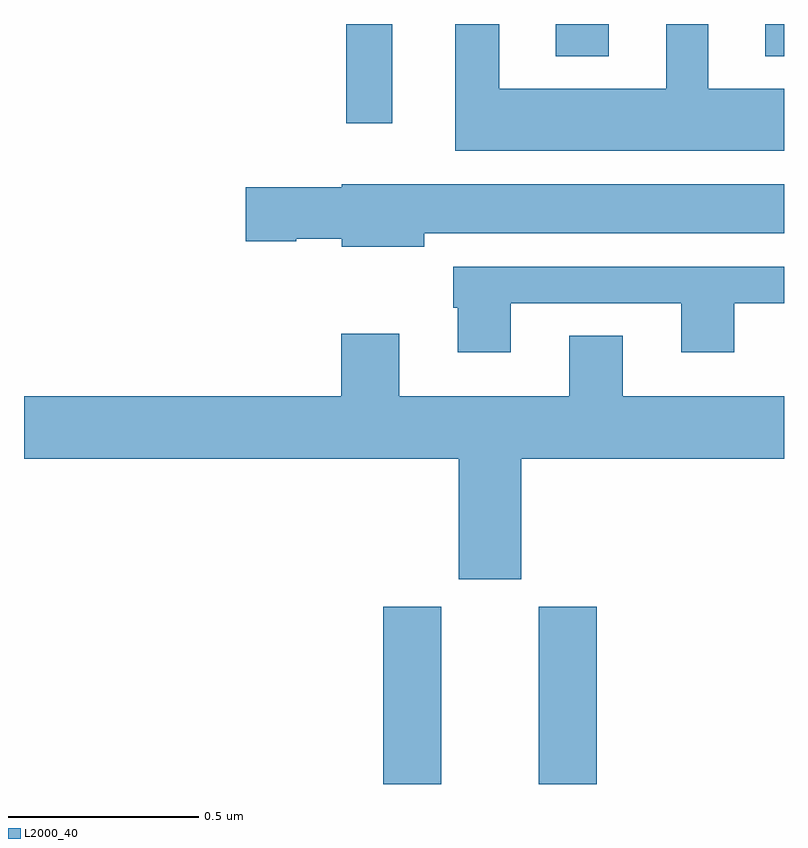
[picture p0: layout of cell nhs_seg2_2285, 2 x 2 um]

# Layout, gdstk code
import gdstk
lib = gdstk.Library(unit=1e-6, precision=1e-09)
def R(c, l, rs):  # rectangles x0, y0, x1, y1
    for r in rs: c.add(gdstk.rectangle(r[:2], r[2:], *l))
def P(c, l, *ps):  # polygons
    for p in ps: c.add(gdstk.Polygon(p, *l))
L2000_40 = (2000, 40)

nhs_seg2_2285 = lib.new_cell('nhs_seg2_2285')
R(nhs_seg2_2285, L2000_40, [(139.946,626.8,140.098,627.267), (140.354,626.8,140.507,627.267), (139.848,628.539,139.969,628.8), (140.399,628.715,140.539,628.8), (140.951,628.715,141,628.8)])
P(nhs_seg2_2285, L2000_40, [(141,628.63),(140.8,628.63),(140.8,628.8),(140.69,628.8),(140.69,628.63),(140.251,628.63),(140.251,628.8),(140.135,628.8),(140.135,628.466),(141,628.466)],
  [(140.053,628.25),(141,628.25),(141,628.378),(139.836,628.378),(139.836,628.37),(139.584,628.37),(139.584,628.228),(139.716,628.228),(139.716,628.235),(139.836,628.235),(139.836,628.214),(140.053,628.214)],
  [(140.281,628.065),(140.729,628.065),(140.729,627.936),(140.869,627.936),(140.869,628.065),(141,628.065),(141,628.161),(140.129,628.161),(140.129,628.053),(140.141,628.053),(140.141,627.936),(140.281,627.936)],
  [(139.987,627.985),(139.835,627.985),(139.835,627.82),(139,627.82),(139,627.656),(140.144,627.656),(140.144,627.339),(140.308,627.339),(140.308,627.656),(141,627.656),(141,627.82),(140.575,627.82),(140.575,627.98),(140.435,627.98),(140.435,627.82),(139.987,627.82)])

lib.write_gds('nhs_seg2_2285.gds')
